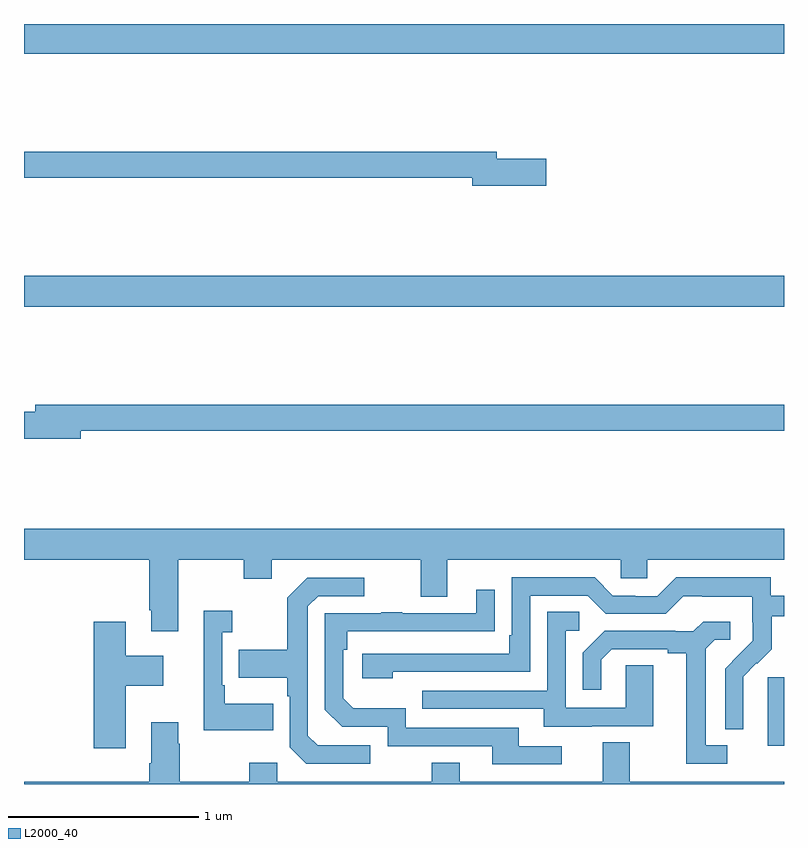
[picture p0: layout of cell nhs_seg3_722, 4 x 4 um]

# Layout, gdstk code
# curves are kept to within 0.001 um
import gdstk
lib = gdstk.Library(unit=1e-6, precision=1e-09)
def R(c, l, rs):  # rectangles x0, y0, x1, y1
    for r in rs: c.add(gdstk.rectangle(r[:2], r[2:], *l))
def P(c, l, *ps):  # polygons
    for p in ps: c.add(gdstk.Polygon(p, *l))
L2000_40 = (2000, 40)

nhs_seg3_722 = lib.new_cell('nhs_seg3_722')
R(nhs_seg3_722, L2000_40, [(150.914,702.602,151,702.963), (147,704.912,151,705.076), (147,706.244,151,706.4)])
P(nhs_seg3_722, L2000_40, [(149.749,705.692),(149.488,705.692),(149.488,705.728),(147,705.728),(147,705.592),(149.36,705.592),(149.36,705.55),(149.749,705.55)],
  [(147.298,704.26),(151,704.26),(151,704.396),(147.059,704.396),(147.059,704.36),(147,704.36),(147,704.218),(147.298,704.218)],
  [(147.811,703.58),(148.156,703.58),(148.156,703.481),(148.303,703.481),(148.303,703.58),(149.087,703.58),(149.087,703.386),(149.227,703.386),(149.227,703.58),(150.141,703.58),(150.141,703.482),(150.279,703.482),(150.279,703.58),(151,703.58),(151,703.744),(147,703.744),(147,703.58),(147.659,703.58),(147.659,703.315),(147.671,703.315),(147.671,703.203),(147.811,703.203)],
  [(150.786,702.842),(150.785,702.965),(150.855,703.035),(150.858,703.032),(150.935,703.109),(150.935,703.284),(151,703.284),(151,703.392),(150.93,703.392),(150.93,703.489),(150.433,703.489),(150.333,703.389),(150.218,703.389),(150.218,703.392),(150.099,703.392),(150.003,703.488),(149.568,703.488),(149.568,703.183),(149.555,703.183),(149.555,703.086),(148.779,703.086),(148.779,702.956),(148.94,702.956),(148.94,702.99),(149.664,702.99),(149.664,703.392),(149.967,703.392),(150.063,703.296),(150.378,703.296),(150.471,703.389),(150.571,703.389),(150.571,703.385),(150.834,703.385),(150.834,703.251),(150.836,703.251),(150.836,703.154),(150.69,703.006),(150.69,702.688),(150.786,702.688)],
  [(148.822,702.603),(148.545,702.603),(148.494,702.654),(148.494,703.335),(148.548,703.389),(148.792,703.389),(148.792,703.485),(148.491,703.485),(148.386,703.379),(148.386,703.107),(148.129,703.107),(148.129,702.959),(148.386,702.959),(148.386,702.863),(148.398,702.863),(148.398,702.594),(148.485,702.507),(148.822,702.507)],
  [(149.83,702.6),(149.605,702.6),(149.605,702.696),(149.01,702.696),(149.01,702.799),(148.733,702.799),(148.68,702.852),(148.68,703.106),(148.7,703.106),(148.7,703.203),(149.477,703.204),(149.477,703.423),(149.381,703.423),(149.381,703.299),(148.991,703.299),(148.991,703.304),(148.879,703.304),(148.879,703.299),(148.584,703.299),(148.584,702.792),(148.674,702.702),(148.914,702.702),(148.914,702.6),(149.465,702.6),(149.465,702.504),(149.83,702.504)],
  [(148.313,702.823),(148.057,702.823),(148.057,702.919),(148.044,702.919),(148.044,703.199),(148.096,703.199),(148.096,703.312),(147.947,703.312),(147.947,702.683),(148.313,702.683)],
  [(149.989,702.705),(150.313,702.705),(150.313,703.025),(150.168,703.025),(150.168,702.801),(149.85,702.801),(149.85,703.206),(149.923,703.206),(149.923,703.307),(149.754,703.307),(149.754,702.891),(149.095,702.891),(149.095,702.795),(149.735,702.795),(149.735,702.701),(149.989,702.701)],
  [(150.7,702.603),(150.589,702.603),(150.589,703.111),(150.636,703.158),(150.718,703.158),(150.718,703.255),(150.574,703.255),(150.522,703.203),(150.428,703.203),(150.428,703.206),(150.056,703.206),(149.94,703.09),(149.94,702.897),(150.037,702.897),(150.037,703.053),(150.094,703.11),(150.389,703.11),(150.389,703.088),(150.485,703.088),(150.485,702.507),(150.7,702.507)],
  [(147.535,702.917),(147.733,702.917),(147.733,703.075),(147.535,703.075),(147.535,703.255),(147.368,703.255),(147.368,702.588),(147.535,702.588)],
  [(151,702.412),(150.187,702.412),(150.187,702.62),(150.047,702.62),(150.047,702.412),(149.293,702.412),(149.293,702.511),(149.146,702.511),(149.146,702.412),(148.332,702.412),(148.332,702.511),(148.186,702.511),(148.186,702.412),(147.819,702.412),(147.819,702.611),(147.811,702.611),(147.811,702.724),(147.671,702.724),(147.671,702.508),(147.659,702.508),(147.659,702.412),(147,702.412),(147,702.4),(151,702.4)])

lib.write_gds('nhs_seg3_722.gds')
